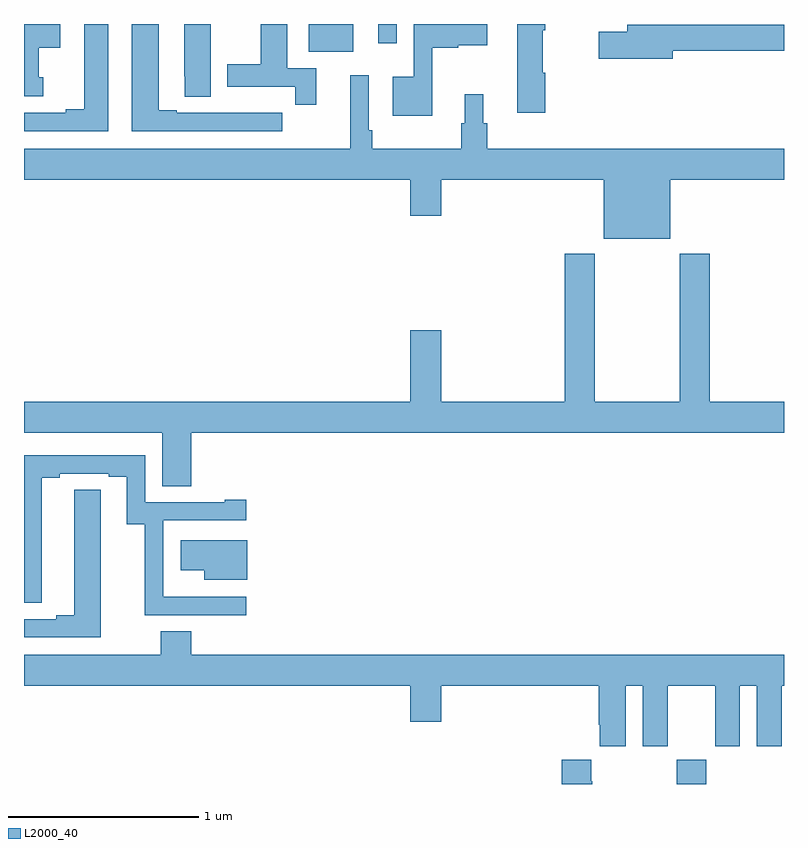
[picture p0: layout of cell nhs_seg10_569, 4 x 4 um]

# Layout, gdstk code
import gdstk
lib = gdstk.Library(unit=1e-6, precision=1e-09)
def R(c, l, rs):  # rectangles x0, y0, x1, y1
    for r in rs: c.add(gdstk.rectangle(r[:2], r[2:], *l))
def P(c, l, *ps):  # polygons
    for p in ps: c.add(gdstk.Polygon(p, *l))
L2000_40 = (2000, 40)

nhs_seg10_569 = lib.new_cell('nhs_seg10_569')
R(nhs_seg10_569, L2000_40, [(142.435,1266.5,142.59,1266.628), (140.498,1270.355,140.734,1270.5), (140.864,1270.398,140.961,1270.5)])
P(nhs_seg10_569, L2000_40, [(140.537,1270.266),(140.386,1270.266),(140.386,1270.5),(140.246,1270.5),(140.246,1270.287),(140.069,1270.287),(140.069,1270.17),(140.428,1270.17),(140.428,1270.074),(140.537,1270.074)],
  [(139.102,1270.221),(139.078,1270.221),(139.078,1270.376),(139.192,1270.376),(139.192,1270.5),(139,1270.5),(139,1270.119),(139.102,1270.119)],
  [(140.359,1270.032),(140.246,1270.032),(140.246,1270.033),(140.08,1270.033),(140.08,1270.032),(139.804,1270.032),(139.804,1270.047),(139.708,1270.047),(139.708,1270.5),(139.568,1270.5),(139.568,1269.936),(140.359,1269.936)],
  [(139.984,1270.5),(139.844,1270.5),(139.844,1270.225),(139.845,1270.225),(139.845,1270.117),(139.984,1270.117)],
  [(139.444,1270.5),(139.316,1270.5),(139.316,1270.052),(139.22,1270.052),(139.22,1270.032),(139,1270.032),(139,1269.936),(139.444,1269.936)],
  [(141.148,1270.376),(141.285,1270.376),(141.285,1270.388),(141.439,1270.388),(141.439,1270.5),(141.051,1270.5),(141.051,1270.222),(140.942,1270.222),(140.942,1270.016),(141.148,1270.016)],
  [(141.743,1270.244),(141.73,1270.244),(141.73,1270.468),(141.743,1270.468),(141.743,1270.5),(141.596,1270.5),(141.596,1270.032),(141.743,1270.032)],
  [(142.414,1270.36),(143,1270.36),(143,1270.496),(142.175,1270.496),(142.175,1270.46),(142.026,1270.46),(142.026,1270.318),(142.414,1270.318)],
  [(140.834,1269.94),(140.814,1269.94),(140.814,1270.231),(140.717,1270.231),(140.717,1269.844),(139,1269.844),(139,1269.68),(141.032,1269.68),(141.032,1269.492),(141.196,1269.492),(141.196,1269.68),(142.052,1269.68),(142.052,1269.371),(142.402,1269.371),(142.402,1269.68),(143,1269.68),(143,1269.844),(141.437,1269.844),(141.437,1269.978),(141.418,1269.978),(141.418,1270.129),(141.32,1270.129),(141.32,1269.978),(141.301,1269.978),(141.301,1269.844),(140.834,1269.844)],
  [(139.88,1268.348),(143,1268.348),(143,1268.512),(142.61,1268.512),(142.61,1269.292),(142.45,1269.292),(142.45,1268.512),(142.005,1268.512),(142.005,1269.292),(141.845,1269.292),(141.845,1268.512),(141.196,1268.512),(141.196,1268.887),(141.032,1268.887),(141.032,1268.512),(139,1268.512),(139,1268.348),(139.727,1268.348),(139.727,1268.068),(139.88,1268.068)],
  [(140.17,1267.485),(139.736,1267.485),(139.736,1267.486),(139.734,1267.486),(139.734,1267.887),(140.17,1267.887),(140.17,1267.996),(140.057,1267.996),(140.057,1267.983),(139.638,1267.983),(139.638,1268.229),(139,1268.229),(139,1267.453),(139.093,1267.453),(139.093,1268.113),(139.189,1268.113),(139.189,1268.133),(139.445,1268.133),(139.445,1268.118),(139.541,1268.118),(139.541,1267.867),(139.636,1267.867),(139.636,1267.389),(140.17,1267.389)],
  [(139.405,1267.94),(139.404,1267.94),(139.404,1268.048),(139.265,1268.048),(139.265,1267.388),(139.169,1267.388),(139.169,1267.368),(139,1267.368),(139,1267.272),(139.405,1267.272)],
  [(140.176,1267.783),(139.824,1267.783),(139.824,1267.625),(139.949,1267.625),(139.949,1267.574),(140.176,1267.574)],
  [(142.168,1267.016),(142.256,1267.016),(142.256,1266.699),(142.387,1266.699),(142.387,1267.016),(142.637,1267.016),(142.637,1266.699),(142.768,1266.699),(142.768,1267.016),(142.856,1267.016),(142.856,1266.699),(142.987,1266.699),(142.987,1267.016),(143,1267.016),(143,1267.18),(139.88,1267.18),(139.88,1267.304),(139.72,1267.304),(139.72,1267.18),(139,1267.18),(139,1267.016),(141.032,1267.016),(141.032,1266.828),(141.196,1266.828),(141.196,1267.016),(142.025,1267.016),(142.025,1266.811),(142.031,1266.811),(142.031,1266.699),(142.168,1266.699)],
  [(141.99,1266.515),(141.985,1266.515),(141.985,1266.628),(141.83,1266.628),(141.83,1266.5),(141.99,1266.5)])

lib.write_gds('nhs_seg10_569.gds')
